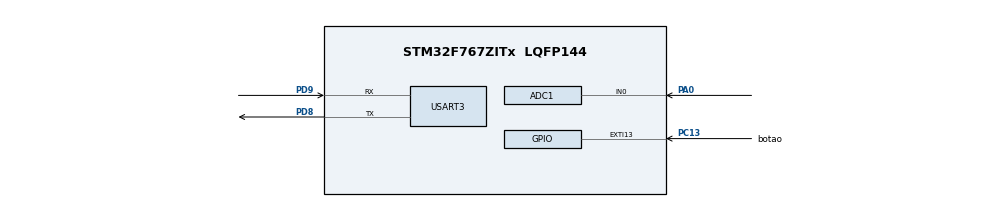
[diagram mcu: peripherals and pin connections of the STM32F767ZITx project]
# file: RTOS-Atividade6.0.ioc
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ADC1.Channel-0\#ChannelRegularConversion=ADC_CHANNEL_0
ADC1.ContinuousConvMode=DISABLE
ADC1.NbrOfConversionFlag=1
ADC1.Rank-0\#ChannelRegularConversion=1
ADC1.SamplingTime-0\#ChannelRegularConversion=ADC_SAMPLETIME_3CYCLES
ADC1.master=1
Dma.ADC1.0.Direction=DMA_PERIPH_TO_MEMORY
Dma.ADC1.0.FIFOMode=DMA_FIFOMODE_DISABLE
Dma.ADC1.0.Instance=DMA2_Stream0
Dma.ADC1.0.MemDataAlignment=DMA_MDATAALIGN_HALFWORD
Dma.ADC1.0.MemInc=DMA_MINC_ENABLE
Dma.ADC1.0.Mode=DMA_CIRCULAR
Dma.ADC1.0.PeriphDataAlignment=DMA_PDATAALIGN_HALFWORD
Dma.ADC1.0.PeriphInc=DMA_PINC_DISABLE
Dma.ADC1.0.Priority=DMA_PRIORITY_LOW
Dma.Request0=ADC1
FREERTOS.BinarySemaphores01=SemBotao,Dynamic,NULL,Depleted;SemFimLeitura,Dynamic,NULL,Depleted
FREERTOS.Queues01=DadoSensorFila,32,uint16_t,0,Dynamic,NULL,NULL
FREERTOS.Tasks01=TaskProdutora,24,512,StartTaskProdutora,Default,NULL,Dynamic,NULL,NULL;TaskConsumidora,24,256,StartTaskConsumidora,Default,NULL,Dynamic,NULL,NULL
FREERTOS.configUSE_NEWLIB_REENTRANT=1
Mcu.Family=STM32F7
Mcu.Name=STM32F767ZITx
Mcu.Package=LQFP144
NVIC.DMA2_Stream0_IRQn=true\:5\:0\:false\:false\:true\:true\:false\:true\:true
NVIC.EXTI15_10_IRQn=true\:5\:0\:false\:false\:true\:true\:true\:true\:true
NVIC.PriorityGroup=NVIC_PRIORITYGROUP_4
NVIC.TIM1_UP_TIM10_IRQn=true\:15\:0\:false\:false\:true\:false\:false\:true\:true
NVIC.TimeBase=TIM1_UP_TIM10_IRQn
NVIC.TimeBaseIP=TIM1
PA0/WKUP.Signal=ADCx_IN0
PC13.GPIO_Label=botao
PC13.Signal=GPXTI13
PD8.Mode=Asynchronous
PD8.Signal=USART3_TX
PD9.Mode=Asynchronous
PD9.Signal=USART3_RX
ProjectManager.HeapSize=0x200
ProjectManager.StackSize=0x400
ProjectManager.TargetToolchain=STM32CubeIDE
RCC.HSE_VALUE=25000000
RCC.HSI_VALUE=16000000
RCC.LSE_VALUE=32768
RCC.USBFreq_Value=96000000
RCC.VCOOutputFreq_Value=192000000
SH.ADCx_IN0.0=ADC1_IN0,IN0
USART3.VirtualMode-Asynchronous=VM_ASYNC
VP_FREERTOS_VS_CMSIS_V2.Mode=CMSIS_V2
VP_SYS_VS_tim1.Mode=TIM1
board=custom

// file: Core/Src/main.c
/* USER CODE BEGIN Header */
/**
  ******************************************************************************
  * @file           : main.c
  * @brief          : Main program body
  ******************************************************************************
  * @attention
  *
  * Copyright (c) 2025 STMicroelectronics.
  * All rights reserved.
  *
  * This software is licensed under terms that can be found in the LICENSE file
  * in the root directory of this software component.
  * If no LICENSE file comes with this software, it is provided AS-IS.
  *
  ******************************************************************************
  */
/* USER CODE END Header */
#include "main.h"
#include "cmsis_os.h"

/* USER CODE BEGIN Includes */
#include <stdio.h>
#include <string.h>
/* USER CODE END Includes */

ADC_HandleTypeDef hadc1;
DMA_HandleTypeDef hdma_adc1;

UART_HandleTypeDef huart3;

/* Definitions for TaskProdutora */
osThreadId_t TaskProdutoraHandle;
const osThreadAttr_t TaskProdutora_attributes = {
  .name = "TaskProdutora",
  .stack_size = 512 * 4,
  .priority = (osPriority_t) osPriorityNormal,
};
/* Definitions for TaskConsumidora */
osThreadId_t TaskConsumidoraHandle;
const osThreadAttr_t TaskConsumidora_attributes = {
  .name = "TaskConsumidora",
  .stack_size = 256 * 4,
  .priority = (osPriority_t) osPriorityNormal,
};
/* Definitions for DadoSensorFila */
osMessageQueueId_t DadoSensorFilaHandle;
const osMessageQueueAttr_t DadoSensorFila_attributes = {
  .name = "DadoSensorFila"
};
/* Definitions for SemBotao */
osSemaphoreId_t SemBotaoHandle;
const osSemaphoreAttr_t SemBotao_attributes = {
  .name = "SemBotao"
};
/* Definitions for SemFimLeitura */
osSemaphoreId_t SemFimLeituraHandle;
const osSemaphoreAttr_t SemFimLeitura_attributes = {
  .name = "SemFimLeitura"
};
/* USER CODE BEGIN PV */
uint16_t bufferADC[1024];
/* USER CODE END PV */

void SystemClock_Config(void);
static void MX_GPIO_Init(void);
static void MX_DMA_Init(void);
static void MX_ADC1_Init(void);
static void MX_USART3_UART_Init(void);
void StartTaskProdutora(void *argument);
void StartTaskConsumidora(void *argument);

int main(void)
{

  /* MCU Configuration--------------------------------------------------------*/

  /* Reset of all peripherals, Initializes the Flash interface and the Systick. */
  HAL_Init();

  /* Configure the system clock */
  SystemClock_Config();

  /* Initialize all configured peripherals */
  MX_GPIO_Init();
  MX_DMA_Init();
  MX_ADC1_Init();
  MX_USART3_UART_Init();

  /* Init scheduler */
  osKernelInitialize();

  /* Create the semaphores(s) */
  /* creation of SemBotao */
  SemBotaoHandle = osSemaphoreNew(1, 0, &SemBotao_attributes);

  /* creation of SemFimLeitura */
  SemFimLeituraHandle = osSemaphoreNew(1, 0, &SemFimLeitura_attributes);

  /* Create the queue(s) */
  /* creation of DadoSensorFila */
  DadoSensorFilaHandle = osMessageQueueNew (32, sizeof(uint16_t), &DadoSensorFila_attributes);

  /* Create the thread(s) */
  /* creation of TaskProdutora */
  TaskProdutoraHandle = osThreadNew(StartTaskProdutora, NULL, &TaskProdutora_attributes);

  /* creation of TaskConsumidora */
  TaskConsumidoraHandle = osThreadNew(StartTaskConsumidora, NULL, &TaskConsumidora_attributes);

  /* Start scheduler */
  osKernelStart();

  /* We should never get here as control is now taken by the scheduler */

  /* Infinite loop */
  while (1)
  {

  }
}

void SystemClock_Config(void)
{
  RCC_OscInitTypeDef RCC_OscInitStruct = {0};
  RCC_ClkInitTypeDef RCC_ClkInitStruct = {0};

  /** Configure the main internal regulator output voltage
  */
  __HAL_RCC_PWR_CLK_ENABLE();
  __HAL_PWR_VOLTAGESCALING_CONFIG(PWR_REGULATOR_VOLTAGE_SCALE3);

  /** Initializes the RCC Oscillators according to the specified parameters
  * in the RCC_OscInitTypeDef structure.
  */
  RCC_OscInitStruct.OscillatorType = RCC_OSCILLATORTYPE_HSI;
  RCC_OscInitStruct.HSIState = RCC_HSI_ON;
  RCC_OscInitStruct.HSICalibrationValue = RCC_HSICALIBRATION_DEFAULT;
  RCC_OscInitStruct.PLL.PLLState = RCC_PLL_NONE;
  if (HAL_RCC_OscConfig(&RCC_OscInitStruct) != HAL_OK)
  {
    Error_Handler();
  }

  /** Initializes the CPU, AHB and APB buses clocks
  */
  RCC_ClkInitStruct.ClockType = RCC_CLOCKTYPE_HCLK|RCC_CLOCKTYPE_SYSCLK
                              |RCC_CLOCKTYPE_PCLK1|RCC_CLOCKTYPE_PCLK2;
  RCC_ClkInitStruct.SYSCLKSource = RCC_SYSCLKSOURCE_HSI;
  RCC_ClkInitStruct.AHBCLKDivider = RCC_SYSCLK_DIV1;
  RCC_ClkInitStruct.APB1CLKDivider = RCC_HCLK_DIV1;
  RCC_ClkInitStruct.APB2CLKDivider = RCC_HCLK_DIV1;

  if (HAL_RCC_ClockConfig(&RCC_ClkInitStruct, FLASH_LATENCY_0) != HAL_OK)
  {
    Error_Handler();
  }
}

static void MX_ADC1_Init(void)
{

  ADC_ChannelConfTypeDef sConfig = {0};

  /** Configure the global features of the ADC (Clock, Resolution, Data Alignment and number of conversion)
  */
  hadc1.Instance = ADC1;
  hadc1.Init.ClockPrescaler = ADC_CLOCK_SYNC_PCLK_DIV2;
  hadc1.Init.Resolution = ADC_RESOLUTION_12B;
  hadc1.Init.ScanConvMode = ADC_SCAN_DISABLE;
  hadc1.Init.ContinuousConvMode = DISABLE;
  hadc1.Init.DiscontinuousConvMode = DISABLE;
  hadc1.Init.ExternalTrigConvEdge = ADC_EXTERNALTRIGCONVEDGE_NONE;
  hadc1.Init.ExternalTrigConv = ADC_SOFTWARE_START;
  hadc1.Init.DataAlign = ADC_DATAALIGN_RIGHT;
  hadc1.Init.NbrOfConversion = 1;
  hadc1.Init.DMAContinuousRequests = DISABLE;
  hadc1.Init.EOCSelection = ADC_EOC_SINGLE_CONV;
  if (HAL_ADC_Init(&hadc1) != HAL_OK)
  {
    Error_Handler();
  }

  /** Configure for the selected ADC regular channel its corresponding rank in the sequencer and its sample time.
  */
  sConfig.Channel = ADC_CHANNEL_0;
  sConfig.Rank = ADC_REGULAR_RANK_1;
  sConfig.SamplingTime = ADC_SAMPLETIME_3CYCLES;
  if (HAL_ADC_ConfigChannel(&hadc1, &sConfig) != HAL_OK)
  {
    Error_Handler();
  }

}

static void MX_USART3_UART_Init(void)
{

  huart3.Instance = USART3;
  huart3.Init.BaudRate = 115200;
  huart3.Init.WordLength = UART_WORDLENGTH_8B;
  huart3.Init.StopBits = UART_STOPBITS_1;
  huart3.Init.Parity = UART_PARITY_NONE;
  huart3.Init.Mode = UART_MODE_TX_RX;
  huart3.Init.HwFlowCtl = UART_HWCONTROL_NONE;
  huart3.Init.OverSampling = UART_OVERSAMPLING_16;
  huart3.Init.OneBitSampling = UART_ONE_BIT_SAMPLE_DISABLE;
  huart3.AdvancedInit.AdvFeatureInit = UART_ADVFEATURE_NO_INIT;
  if (HAL_UART_Init(&huart3) != HAL_OK)
  {
    Error_Handler();
  }

}

static void MX_DMA_Init(void)
{

  /* DMA controller clock enable */
  __HAL_RCC_DMA2_CLK_ENABLE();

  /* DMA interrupt init */
  /* DMA2_Stream0_IRQn interrupt configuration */
  HAL_NVIC_SetPriority(DMA2_Stream0_IRQn, 5, 0);
  HAL_NVIC_EnableIRQ(DMA2_Stream0_IRQn);

}

static void MX_GPIO_Init(void)
{
  GPIO_InitTypeDef GPIO_InitStruct = {0};

  /* GPIO Ports Clock Enable */
  __HAL_RCC_GPIOC_CLK_ENABLE();
  __HAL_RCC_GPIOA_CLK_ENABLE();
  __HAL_RCC_GPIOD_CLK_ENABLE();

  /*Configure GPIO pin : botao_Pin */
  GPIO_InitStruct.Pin = botao_Pin;
  GPIO_InitStruct.Mode = GPIO_MODE_IT_RISING;
  GPIO_InitStruct.Pull = GPIO_NOPULL;
  HAL_GPIO_Init(botao_GPIO_Port, &GPIO_InitStruct);

  /* EXTI interrupt init*/
  HAL_NVIC_SetPriority(EXTI15_10_IRQn, 5, 0);
  HAL_NVIC_EnableIRQ(EXTI15_10_IRQn);

}

/* USER CODE BEGIN 4 */
void HAL_GPIO_EXTI_Callback(uint16_t GPIO_Pin) {
	if(GPIO_Pin == botao_Pin){
		 osSemaphoreRelease(SemBotaoHandle);
	}
}

void HAL_ADC_ConvCpltCallback(ADC_HandleTypeDef* hadc){
	  if(hadc->Instance == ADC1)
	  {
	    // Libera o semáforo para acordar a tarefa produtora, avisando que os dados estão prontos.
	    osSemaphoreRelease(SemFimLeituraHandle);
	  }
}
/* USER CODE END 4 */

void StartTaskProdutora(void *argument)
{
  /* USER CODE BEGIN 5 */
  /* Infinite loop */
  for(;;)
  {
    // Espera o botão ser pressionado
    osSemaphoreAcquire(SemBotaoHandle, osWaitForever);

    // Dá a ordem para o DMA começar a coletar os dados em segundo plano
    HAL_ADC_Start_DMA(&hadc1, (uint32_t*)bufferADC, 1024);

    // Dorme e espera o DMA terminar. A CPU fica livre
    osSemaphoreAcquire(SemFimLeituraHandle, osWaitForever);

    // O DMA terminou
    //    Agora, e somente agora, transferimos os dados do buffer para a fila :)
    for(int i = 0; i < 1024; i++)
    {
        // Pega o dado já coletado pelo DMA e coloca na fila para o consumidor
        osMessageQueuePut(DadoSensorFilaHandle, &bufferADC[i], 0, 0);
    }
  }
  /* USER CODE END 5 */
}

void StartTaskConsumidora(void *argument)
{
  /* USER CODE BEGIN StartTaskConsumidora */
	char msgUART[50];
  /* Infinite loop */
  for(;;)
  {
	// NÃO HÁ MAIS a espera pelo semáforo de fim aqui.
	uint16_t valorLido;
	uint64_t soma = 0;

	// O loop agora é controlado pelo consumidor
		for(int i = 0; i < 1024; i++)
		{
		  // A tarefa fica bloqueada AQUI se a fila estiver vazia, esperando o produtor.
		  osMessageQueueGet(DadoSensorFilaHandle, &valorLido, NULL, osWaitForever);
		  soma += valorLido;
		}
	uint16_t media = soma / 1024;

	sprintf(msgUART, "Media : %u\r\n", media);
	HAL_UART_Transmit(&huart3, (uint8_t*)msgUART, strlen(msgUART), 200);
  }
  /* USER CODE END StartTaskConsumidora */
}

void HAL_TIM_PeriodElapsedCallback(TIM_HandleTypeDef *htim)
{
  if (htim->Instance == TIM1)
  {
    HAL_IncTick();
  }
}

void Error_Handler(void)
{
  __disable_irq();
  while (1)
  {
  }
}
